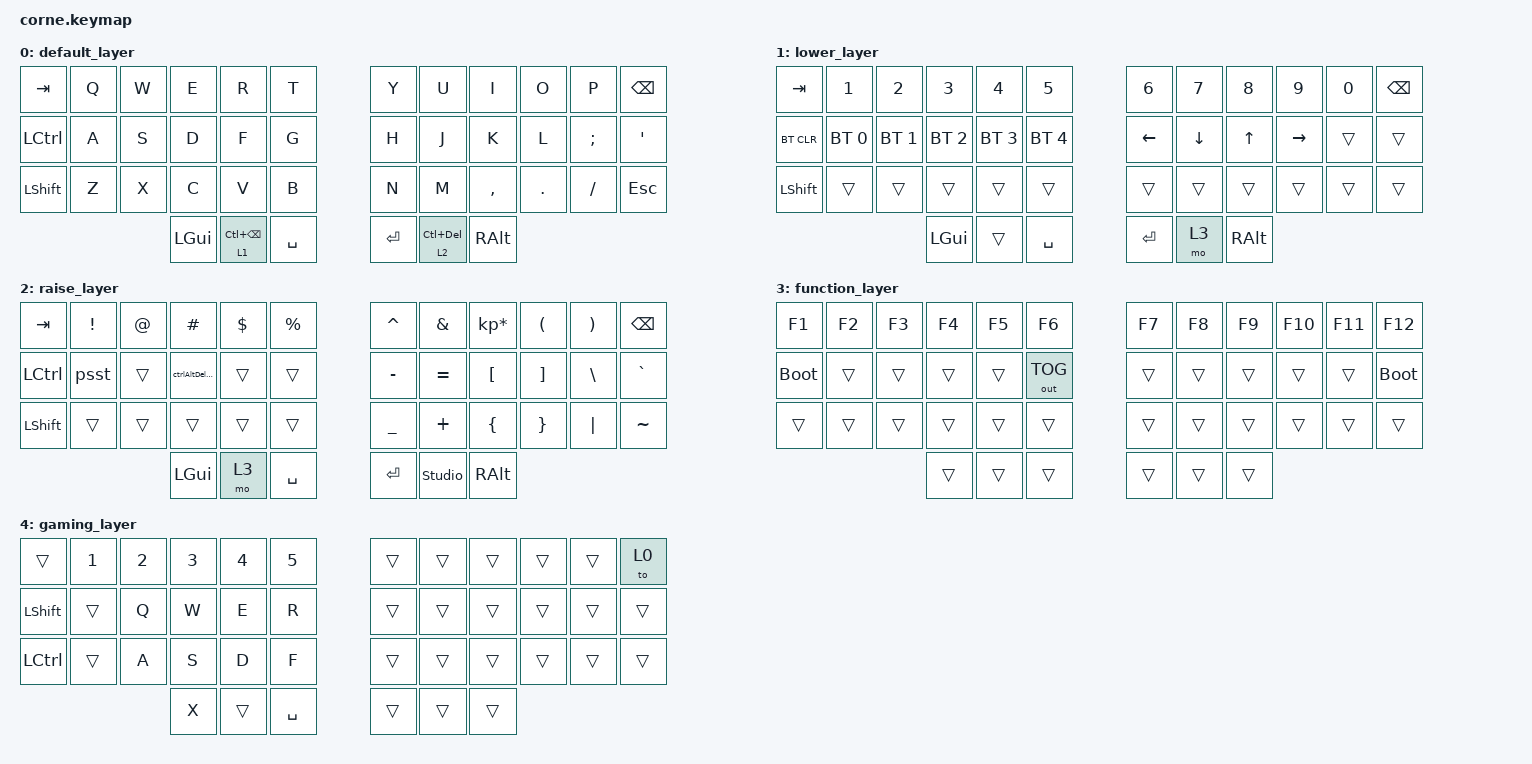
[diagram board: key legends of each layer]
/*
 * Copyright (c) 2020 The ZMK Contributors
 *
 * SPDX-License-Identifier: MIT
 */

#include <dt-bindings/led/led.h>
#include <dt-bindings/zmk/reset.h>
#include <behaviors.dtsi>
#include <dt-bindings/zmk/bt.h>
#include <dt-bindings/zmk/keys.h>
#include <dt-bindings/zmk/outputs.h>

&led_strip { chain-length = <27>; };

/ {
    macros {
        ctrlAltDelete: ctrlAltDelete {
            compatible = "zmk,behavior-macro";
            #binding-cells = <0>;
            bindings = <&kp LC(LA(DEL))>;
            label = "CTRLALTDELETE";
        };

        psst: psst {
            compatible = "zmk,behavior-macro";
            #binding-cells = <0>;
            bindings = <&kp N3 &kp LS(Z) &kp LS(E) &kp C &kp LS(T) &kp T &kp G &kp LS(O) &kp N7 &kp LS(N) &kp LS(X) &kp N1 &kp LS(Q) &kp LS(B)>;
            label = "PSST";
        };
    };

    combos {
        compatible = "zmk,combos";

        ToBootloader {
            bindings = <&bootloader>;
            key-positions = <37 40 35>;
        };

        GamerMode {
            bindings = <&to 4>;
            key-positions = <37 40 24>;
        };
    };

    keymap {
        compatible = "zmk,keymap";

        default_layer {
            // -----------------------------------------------------------------------------------------
            // |  TAB |  Q  |  W  |  E  |  R  |  T  |   |  Y  |  U   |  I  |  O  |  P  | BKSP |
            // | CTRL |  A  |  S  |  D  |  F  |  G  |   |  H  |  J   |  K  |  L  |  ;  |  '   |
            // | SHFT |  Z  |  X  |  C  |  V  |  B  |   |  N  |  M   |  ,  |  .  |  /  | ESC  |
            //                    | GUI | LWR | SPC |   | ENT | RSE  | ALT |

            bindings = <
&kp TAB    &kp Q  &kp W  &kp E     &kp R                &kp T        &kp Y    &kp U             &kp I      &kp O    &kp P     &kp BSPC
&kp LCTRL  &kp A  &kp S  &kp D     &kp F                &kp G        &kp H    &kp J             &kp K      &kp L    &kp SEMI  &kp SQT
&kp LSHFT  &kp Z  &kp X  &kp C     &kp V                &kp B        &kp N    &kp M             &kp COMMA  &kp DOT  &kp FSLH  &kp ESC
                         &kp LGUI  &lt 1 LC(BACKSPACE)  &kp SPACE    &kp RET  &lt 2 LC(DELETE)  &kp RALT
            >;
        };

        lower_layer {
            // -----------------------------------------------------------------------------------------
            // |  TAB |  1  |  2  |  3  |  4  |  5  |   |  6  |  7  |  8  |  9  |  0  | BKSP |
            // | BTCLR| BT1 | BT2 | BT3 | BT4 | BT5 |   | LFT | DWN |  UP | RGT |     |      |
            // | SHFT |     |     |     |     |     |   |     |     |     |     |     |      |
            //                    | GUI |     | SPC |   | ENT |     | ALT |

            bindings = <
&kp TAB     &kp N1        &kp N2        &kp N3        &kp N4        &kp N5          &kp N6    &kp N7    &kp N8    &kp N9     &kp N0  &kp BSPC
&bt BT_CLR  &bt BT_SEL 0  &bt BT_SEL 1  &bt BT_SEL 2  &bt BT_SEL 3  &bt BT_SEL 4    &kp LEFT  &kp DOWN  &kp UP    &kp RIGHT  &trans  &trans
&kp LSHFT   &trans        &trans        &trans        &trans        &trans          &trans    &trans    &trans    &trans     &trans  &trans
                                        &kp LGUI      &trans        &kp SPACE       &kp RET   &mo 3     &kp RALT
            >;
        };

        raise_layer {
            // -----------------------------------------------------------------------------------------
            // |  TAB |  !  |  @  |  #  |  $  |  %  |   |  ^  |  &  |  *  |  (  |  )  | BKSP |
            // | CTRL |     |     |     |     |     |   |  -  |  =  |  [  |  ]  |  \  |  `   |
            // | SHFT |     |     |     |     |     |   |  _  |  +  |  {  |  }  | "|" |  ~   |
            //                    | GUI |     | SPC |   | ENT |     | ALT |

            bindings = <
&kp TAB    &kp EXCL  &kp AT  &kp HASH        &kp DLLR  &kp PRCNT    &kp CARET  &kp AMPS        &kp KP_MULTIPLY  &kp LPAR  &kp RPAR  &kp BSPC
&kp LCTRL  &psst     &trans  &ctrlAltDelete  &trans    &trans       &kp MINUS  &kp EQUAL       &kp LBKT         &kp RBKT  &kp BSLH  &kp GRAVE
&kp LSHFT  &trans    &trans  &trans          &trans    &trans       &kp UNDER  &kp PLUS        &kp LBRC         &kp RBRC  &kp PIPE  &kp TILDE
                             &kp LGUI        &mo 3     &kp SPACE    &kp RET    &studio_unlock  &kp RALT
            >;
        };

        function_layer {
            bindings = <
&kp F1       &kp F2  &kp F3  &kp F4  &kp F5  &kp F6          &kp F7  &kp F8  &kp F9  &kp F10  &kp F11  &kp F12
&bootloader  &trans  &trans  &trans  &trans  &out OUT_TOG    &trans  &trans  &trans  &trans   &trans   &bootloader
&trans       &trans  &trans  &trans  &trans  &trans          &trans  &trans  &trans  &trans   &trans   &trans
                             &trans  &trans  &trans          &trans  &trans  &trans
            >;
        };

        gaming_layer {
            bindings = <
&trans     &kp NUMBER_1  &kp NUMBER_2  &kp NUMBER_3  &kp NUMBER_4  &kp NUMBER_5    &trans  &trans  &trans  &trans  &trans  &to 0
&kp LSHFT  &trans        &kp Q         &kp W         &kp E         &kp R           &trans  &trans  &trans  &trans  &trans  &trans
&kp LCTRL  &trans        &kp A         &kp S         &kp D         &kp F           &trans  &trans  &trans  &trans  &trans  &trans
                                       &kp X         &trans        &kp SPACE       &trans  &trans  &trans
            >;
        };
    };
};
